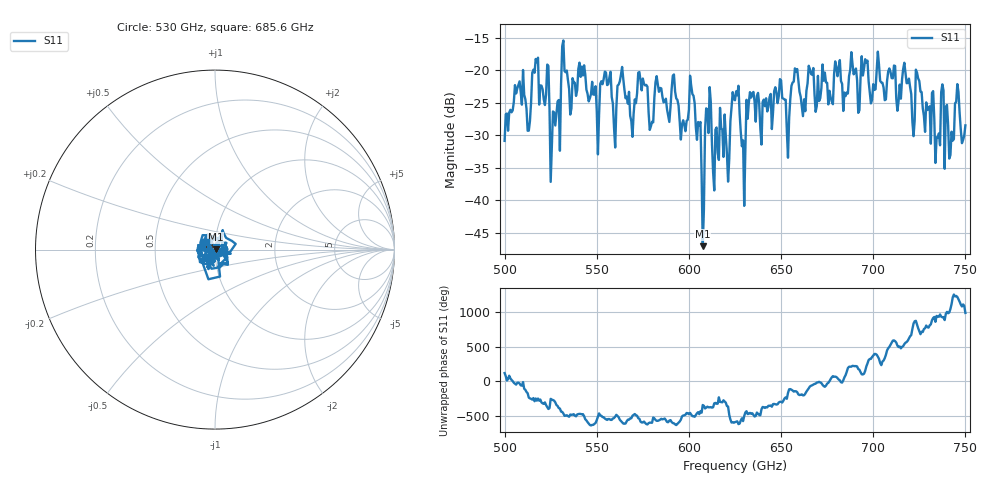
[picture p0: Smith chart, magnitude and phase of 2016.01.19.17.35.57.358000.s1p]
!Created with skrf (http://scikit-rf.org).
# GHz S RI R 50.0
!freq ReS11 ImS11
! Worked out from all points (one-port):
!   401 points, 500 GHz to 750 GHz, reference 50 ohm
!   lowest |S11| = -47.0 dB at 607.5 GHz (marker M1), VSWR 1.01, Z = 50.4 + j0.148 ohm
!   |S11| at or under -10 dB: start of sweep to end of sweep
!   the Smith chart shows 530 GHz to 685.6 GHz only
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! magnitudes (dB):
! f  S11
! 500 GHz  -30.9
! 506.9 GHz  -22.8
! 513.1 GHz  -29.3
! 516.9 GHz  -18.3
! 526.2 GHz  -26.3
! 531.2 GHz  -16.3
! 550 GHz  -26.3
! 556.2 GHz  -22.1
! 559.4 GHz  -28.9
! 562.5 GHz  -21.7
! 569.4 GHz  -30.2
! 573.8 GHz  -21.6
! 579.4 GHz  -28.6
! 593.8 GHz  -24.6
! 601.9 GHz  -23.7
! 607.5 GHz  -47.0
! 610.6 GHz  -29.7
! 621.2 GHz  -37.1
! 625 GHz  -24.6
! 629.4 GHz  -30.8
! 633.8 GHz  -24.2
! 653.8 GHz  -33.4
! 656.2 GHz  -21.9
! 687.5 GHz  -20.0
! 718.8 GHz  -22.0
! 735 GHz  -30.4
! 745.6 GHz  -22.1
! 750 GHz  -28.5
